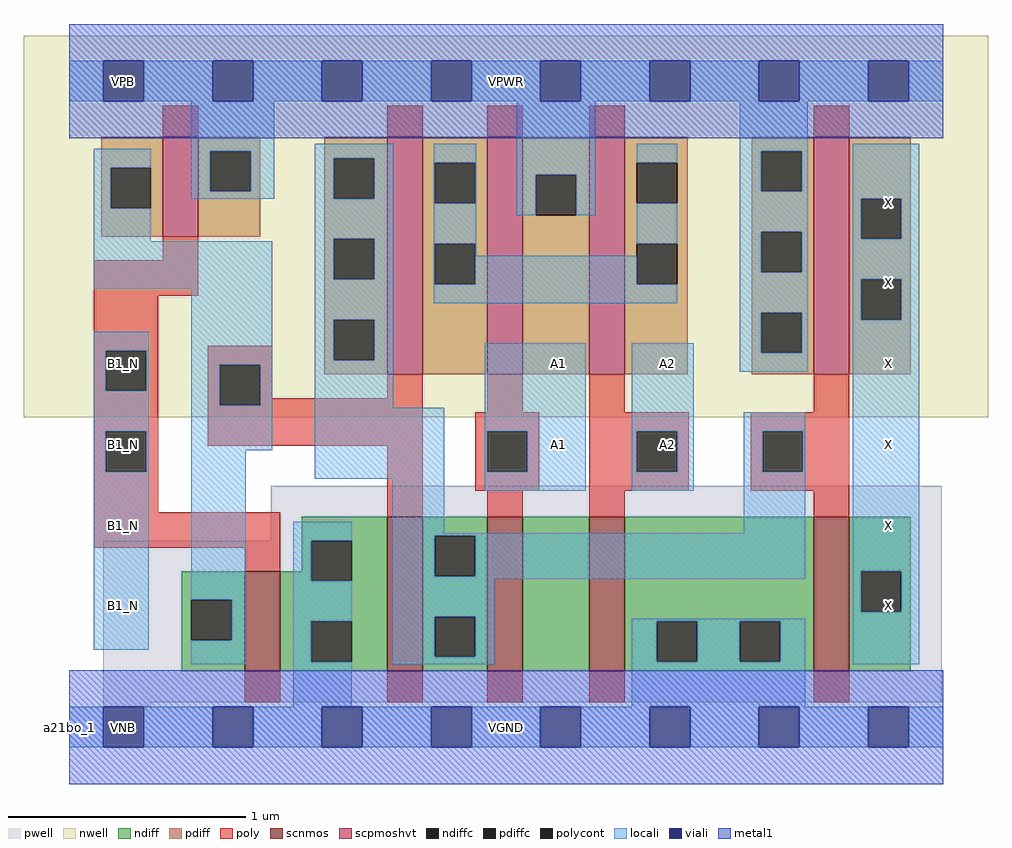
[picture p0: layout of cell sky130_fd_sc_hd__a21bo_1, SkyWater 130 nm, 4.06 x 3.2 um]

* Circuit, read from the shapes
.subckt sky130_fd_sc_hd__a21bo_1 A1 A2 B1_N VGND VNB VPB VPWR X
XM1 VGND B1_N n1 VNB sky130_fd_pr__nfet_01v8 w=0.42 l=0.15
XM2 n2 n1 VGND VNB sky130_fd_pr__nfet_01v8 w=0.65 l=0.15
XM3 n3 A1 n2 VNB sky130_fd_pr__nfet_01v8 w=0.65 l=0.15
XM4 VGND A2 n3 VNB sky130_fd_pr__nfet_01v8 w=0.65 l=0.15
XM5 X n2 VGND VNB sky130_fd_pr__nfet_01v8 w=0.65 l=0.15
XM6 VPWR B1_N n1 VPB sky130_fd_pr__pfet_01v8_hvt w=0.42 l=0.15
XM7 n4 n1 n2 VPB sky130_fd_pr__pfet_01v8_hvt w=1 l=0.15
XM8 VPWR A1 n4 VPB sky130_fd_pr__pfet_01v8_hvt w=1 l=0.15
XM9 n4 A2 VPWR VPB sky130_fd_pr__pfet_01v8_hvt w=1 l=0.15
XM10 X n2 VPWR VPB sky130_fd_pr__pfet_01v8_hvt w=1 l=0.15
.ends

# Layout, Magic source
magic
tech sky130B
magscale 1 2
<< nwell >>
rect -38 261 774 582
<< pwell >>
rect 170 157 735 203
rect 69 21 735 157
rect 29 -17 63 17
rect 29 17 69 157
<< scnmos >>
rect 148 47 178 131
rect 268 47 298 177
rect 352 47 382 177
rect 438 47 468 177
rect 627 47 657 177
<< scpmoshvt >>
rect 79 413 109 497
rect 268 297 298 497
rect 352 297 382 497
rect 438 297 468 497
rect 627 297 657 497
<< ndiff >>
rect 196 157 268 177
rect 196 131 204 157
rect 95 107 148 131
rect 95 73 103 107
rect 137 73 148 107
rect 95 47 148 73
rect 178 123 204 131
rect 238 123 268 157
rect 178 89 268 123
rect 178 55 204 89
rect 238 55 268 89
rect 178 47 268 55
rect 298 161 352 177
rect 298 127 308 161
rect 342 127 352 161
rect 298 93 352 127
rect 298 59 308 93
rect 342 59 352 93
rect 298 47 352 59
rect 382 47 438 177
rect 468 89 627 177
rect 468 55 495 89
rect 529 55 565 89
rect 599 55 627 89
rect 468 47 627 55
rect 657 131 709 177
rect 657 97 667 131
rect 701 97 709 131
rect 657 47 709 97
<< pdiff >>
rect 27 471 79 497
rect 27 437 35 471
rect 69 437 79 471
rect 27 413 79 437
rect 109 485 161 497
rect 109 451 119 485
rect 153 451 161 485
rect 109 413 161 451
rect 215 479 268 497
rect 215 445 223 479
rect 257 445 268 479
rect 215 411 268 445
rect 215 377 223 411
rect 257 377 268 411
rect 215 343 268 377
rect 215 309 223 343
rect 257 309 268 343
rect 215 297 268 309
rect 298 475 352 497
rect 298 441 308 475
rect 342 441 352 475
rect 298 407 352 441
rect 298 373 308 407
rect 342 373 352 407
rect 298 297 352 373
rect 382 465 438 497
rect 382 431 393 465
rect 427 431 438 465
rect 382 297 438 431
rect 468 475 521 497
rect 468 441 478 475
rect 512 441 521 475
rect 468 407 521 441
rect 468 373 478 407
rect 512 373 521 407
rect 468 297 521 373
rect 575 485 627 497
rect 575 451 583 485
rect 617 451 627 485
rect 575 417 627 451
rect 575 383 583 417
rect 617 383 627 417
rect 575 349 627 383
rect 575 315 583 349
rect 617 315 627 349
rect 575 297 627 315
rect 657 445 709 497
rect 657 411 667 445
rect 701 411 709 445
rect 657 377 709 411
rect 657 343 667 377
rect 701 343 709 377
rect 657 297 709 343
<< ndiffc >>
rect 103 73 137 107
rect 204 123 238 157
rect 204 55 238 89
rect 308 127 342 161
rect 308 59 342 93
rect 495 55 529 89
rect 565 55 599 89
rect 667 97 701 131
<< pdiffc >>
rect 35 437 69 471
rect 119 451 153 485
rect 223 445 257 479
rect 223 377 257 411
rect 223 309 257 343
rect 308 441 342 475
rect 308 373 342 407
rect 393 431 427 465
rect 478 441 512 475
rect 478 373 512 407
rect 583 451 617 485
rect 583 383 617 417
rect 583 315 617 349
rect 667 411 701 445
rect 667 343 701 377
<< poly >>
rect 79 497 109 523
rect 268 497 298 523
rect 352 497 382 523
rect 438 497 468 523
rect 627 497 657 523
rect 79 393 109 413
rect 21 363 109 393
rect 21 317 75 363
rect 21 283 31 317
rect 65 283 75 317
rect 21 249 75 283
rect 21 215 31 249
rect 65 215 75 249
rect 117 305 171 321
rect 117 271 127 305
rect 161 277 171 305
rect 268 277 298 297
rect 161 271 298 277
rect 117 237 298 271
rect 352 265 382 297
rect 438 265 468 297
rect 627 265 657 297
rect 21 181 75 215
rect 21 151 178 181
rect 268 177 298 237
rect 342 249 396 265
rect 342 215 352 249
rect 386 215 396 249
rect 342 199 396 215
rect 438 249 522 265
rect 438 215 478 249
rect 512 215 522 249
rect 438 199 522 215
rect 574 249 657 265
rect 574 215 584 249
rect 618 215 657 249
rect 574 199 657 215
rect 352 177 382 199
rect 438 177 468 199
rect 627 177 657 199
rect 148 131 178 151
rect 148 21 178 47
rect 268 21 298 47
rect 352 21 382 47
rect 438 21 468 47
rect 627 21 657 47
<< polycont >>
rect 31 283 65 317
rect 31 215 65 249
rect 127 271 161 305
rect 352 215 386 249
rect 478 215 512 249
rect 584 215 618 249
<< locali >>
rect 0 527 29 561
rect 63 527 121 561
rect 155 527 213 561
rect 247 527 305 561
rect 339 527 397 561
rect 431 527 489 561
rect 523 527 581 561
rect 615 527 673 561
rect 707 527 736 561
rect 21 471 69 487
rect 21 437 35 471
rect 103 485 173 527
rect 103 451 119 485
rect 153 451 173 485
rect 103 445 173 451
rect 207 479 273 491
rect 207 445 223 479
rect 257 445 273 479
rect 21 409 69 437
rect 207 411 273 445
rect 21 369 171 409
rect 21 317 67 333
rect 21 283 31 317
rect 65 283 67 317
rect 21 249 67 283
rect 21 215 31 249
rect 65 215 67 249
rect 21 65 67 215
rect 103 305 171 369
rect 103 271 127 305
rect 161 271 171 305
rect 103 233 171 271
rect 207 377 223 411
rect 257 377 273 411
rect 207 343 273 377
rect 307 475 343 491
rect 307 441 308 475
rect 342 441 343 475
rect 307 407 343 441
rect 377 465 443 527
rect 377 431 393 465
rect 427 431 443 465
rect 478 475 512 491
rect 307 373 308 407
rect 342 397 343 407
rect 478 407 512 441
rect 342 373 478 397
rect 307 357 512 373
rect 565 485 622 527
rect 565 451 583 485
rect 617 451 622 485
rect 565 417 622 451
rect 565 383 583 417
rect 617 383 622 417
rect 207 309 223 343
rect 257 309 273 343
rect 565 349 622 383
rect 207 269 273 309
rect 103 107 149 233
rect 207 209 316 269
rect 137 73 149 107
rect 103 53 149 73
rect 189 157 238 173
rect 189 123 204 157
rect 189 89 238 123
rect 189 55 204 89
rect 189 17 238 55
rect 272 163 316 209
rect 350 249 435 323
rect 350 215 352 249
rect 386 215 435 249
rect 350 199 435 215
rect 474 249 526 323
rect 565 315 583 349
rect 617 315 622 349
rect 565 299 622 315
rect 660 445 716 491
rect 660 411 667 445
rect 701 411 716 445
rect 660 377 716 411
rect 660 343 667 377
rect 701 343 716 377
rect 474 215 478 249
rect 512 215 526 249
rect 474 199 526 215
rect 568 249 620 265
rect 568 215 584 249
rect 618 215 620 249
rect 568 163 620 215
rect 272 161 620 163
rect 272 127 308 161
rect 342 127 620 161
rect 272 125 620 127
rect 660 131 716 343
rect 272 93 358 125
rect 272 59 308 93
rect 342 59 358 93
rect 660 97 667 131
rect 701 97 716 131
rect 272 53 358 59
rect 474 89 620 91
rect 474 55 495 89
rect 529 55 565 89
rect 599 55 620 89
rect 474 17 620 55
rect 660 53 716 97
rect 0 -17 29 17
rect 63 -17 121 17
rect 155 -17 213 17
rect 247 -17 305 17
rect 339 -17 397 17
rect 431 -17 489 17
rect 523 -17 581 17
rect 615 -17 673 17
rect 707 -17 736 17
<< viali >>
rect 29 527 63 561
rect 121 527 155 561
rect 213 527 247 561
rect 305 527 339 561
rect 397 527 431 561
rect 489 527 523 561
rect 581 527 615 561
rect 673 527 707 561
rect 29 -17 63 17
rect 121 -17 155 17
rect 213 -17 247 17
rect 305 -17 339 17
rect 397 -17 431 17
rect 489 -17 523 17
rect 581 -17 615 17
rect 673 -17 707 17
<< metal1 >>
rect 0 561 736 592
rect 0 527 29 561
rect 63 527 121 561
rect 155 527 213 561
rect 247 527 305 561
rect 339 527 397 561
rect 431 527 489 561
rect 523 527 581 561
rect 615 527 673 561
rect 707 527 736 561
rect 0 496 736 527
rect 0 17 736 48
rect 0 -17 29 17
rect 63 -17 121 17
rect 155 -17 213 17
rect 247 -17 305 17
rect 339 -17 397 17
rect 431 -17 489 17
rect 523 -17 581 17
rect 615 -17 673 17
rect 707 -17 736 17
rect 0 -48 736 -17
<< labels >>
flabel locali s 673 357 707 391 0 FreeSans 200 0 0 0 X
port 8 nsew signal output
flabel locali s 673 425 707 459 0 FreeSans 200 0 0 0 X
port 8 nsew signal output
flabel locali s 395 221 429 255 0 FreeSans 200 0 0 0 A1
port 1 nsew signal input
flabel locali s 673 289 707 323 0 FreeSans 200 0 0 0 X
port 8 nsew signal output
flabel locali s 673 221 707 255 0 FreeSans 200 0 0 0 X
port 8 nsew signal output
flabel locali s 29 221 63 255 0 FreeSans 200 0 0 0 B1_N
port 3 nsew signal input
flabel locali s 673 153 707 187 0 FreeSans 200 0 0 0 X
port 8 nsew signal output
flabel locali s 487 221 521 255 0 FreeSans 200 0 0 0 A2
port 2 nsew signal input
flabel locali s 29 289 63 323 0 FreeSans 200 0 0 0 B1_N
port 3 nsew signal input
flabel locali s 673 85 707 119 0 FreeSans 200 0 0 0 X
port 8 nsew signal output
flabel locali s 29 153 63 187 0 FreeSans 200 0 0 0 B1_N
port 3 nsew signal input
flabel locali s 29 85 63 119 0 FreeSans 200 0 0 0 B1_N
port 3 nsew signal input
flabel locali s 395 289 429 323 0 FreeSans 200 0 0 0 A1
port 1 nsew signal input
flabel locali s 487 289 521 323 0 FreeSans 200 0 0 0 A2
port 2 nsew signal input
flabel pwell s 29 -17 63 17 0 FreeSans 200 0 0 0 VNB
port 5 nsew ground bidirectional
flabel nwell s 29 527 63 561 0 FreeSans 200 0 0 0 VPB
port 6 nsew power bidirectional
flabel metal1 s 29 -17 63 17 0 FreeSans 200 0 0 0 VGND
port 4 nsew ground bidirectional abutment
flabel metal1 s 29 527 63 561 0 FreeSans 200 0 0 0 VPWR
port 7 nsew power bidirectional abutment
rlabel comment s 0 0 0 0 4 a21bo_1
rlabel metal1 s 0 -48 736 48 1 VGND
port 4 nsew ground bidirectional abutment
rlabel metal1 s 0 496 736 592 1 VPWR
port 7 nsew power bidirectional abutment
<< properties >>
string FIXED_BBOX 0 0 736 544
string GDS_END 3968146
string GDS_FILE $PDKPATH/libs.ref/sky130_fd_sc_hd/gds/sky130_fd_sc_hd.gds
string GDS_START 3960600
string LEFclass CORE
string LEFsite unithd
string LEFsymmetry X Y R90
string path 0.000 13.600 18.400 13.600 
<< end >>
